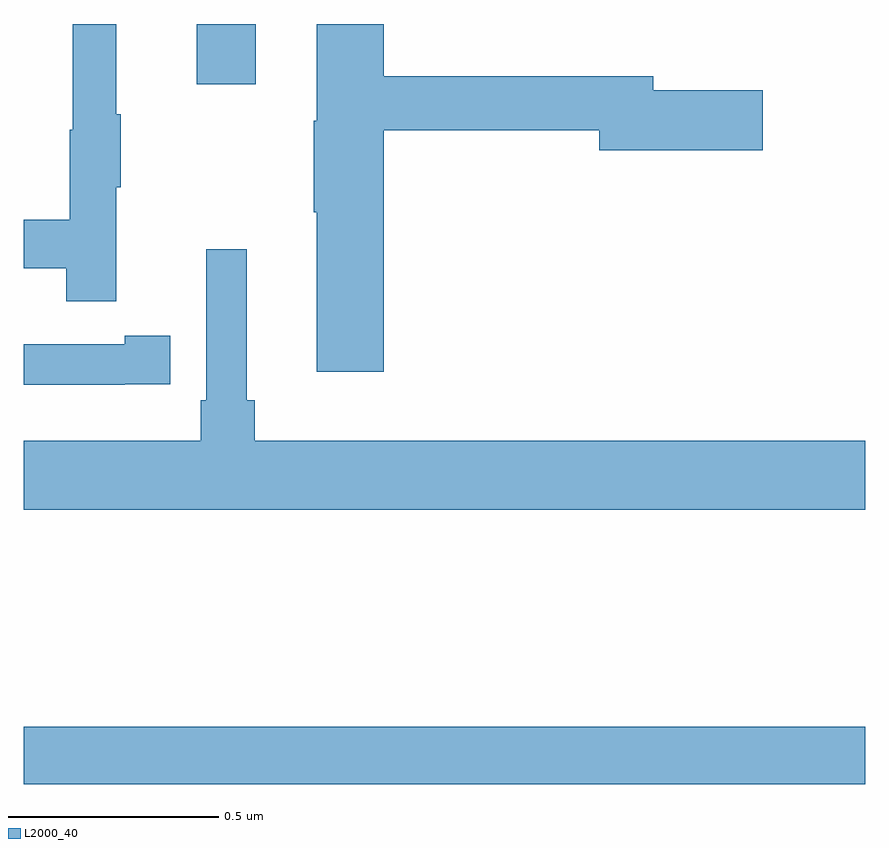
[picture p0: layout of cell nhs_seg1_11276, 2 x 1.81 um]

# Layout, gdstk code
import gdstk
lib = gdstk.Library(unit=1e-6, precision=1e-09)
def R(c, l, rs):  # rectangles x0, y0, x1, y1
    for r in rs: c.add(gdstk.rectangle(r[:2], r[2:], *l))
def P(c, l, *ps):  # polygons
    for p in ps: c.add(gdstk.Polygon(p, *l))
L2000_40 = (2000, 40)

nhs_seg1_11276 = lib.new_cell('nhs_seg1_11276')
R(nhs_seg1_11276, L2000_40, [(251,572.392,253,572.528), (251.411,574.056,251.551,574.199)])
P(nhs_seg1_11276, L2000_40, [(251.855,573.946),(252.368,573.946),(252.368,573.899),(252.757,573.899),(252.757,574.041),(252.496,574.041),(252.496,574.075),(251.855,574.075),(251.855,574.199),(251.696,574.199),(251.696,573.969),(251.689,573.969),(251.689,573.751),(251.696,573.751),(251.696,573.372),(251.855,573.372)],
  [(251.219,573.811),(251.23,573.811),(251.23,573.985),(251.219,573.985),(251.219,574.198),(251.116,574.198),(251.116,573.948),(251.109,573.948),(251.109,573.734),(251,573.734),(251,573.618),(251.101,573.618),(251.101,573.54),(251.219,573.54)],
  [(253,573.208),(251.549,573.208),(251.549,573.304),(251.53,573.304),(251.53,573.664),(251.433,573.664),(251.433,573.304),(251.42,573.304),(251.42,573.208),(251,573.208),(251,573.044),(253,573.044)],
  [(251.24,573.342),(251.348,573.342),(251.348,573.458),(251.24,573.458),(251.24,573.438),(251,573.438),(251,573.341),(251.24,573.341)])

lib.write_gds('nhs_seg1_11276.gds')
